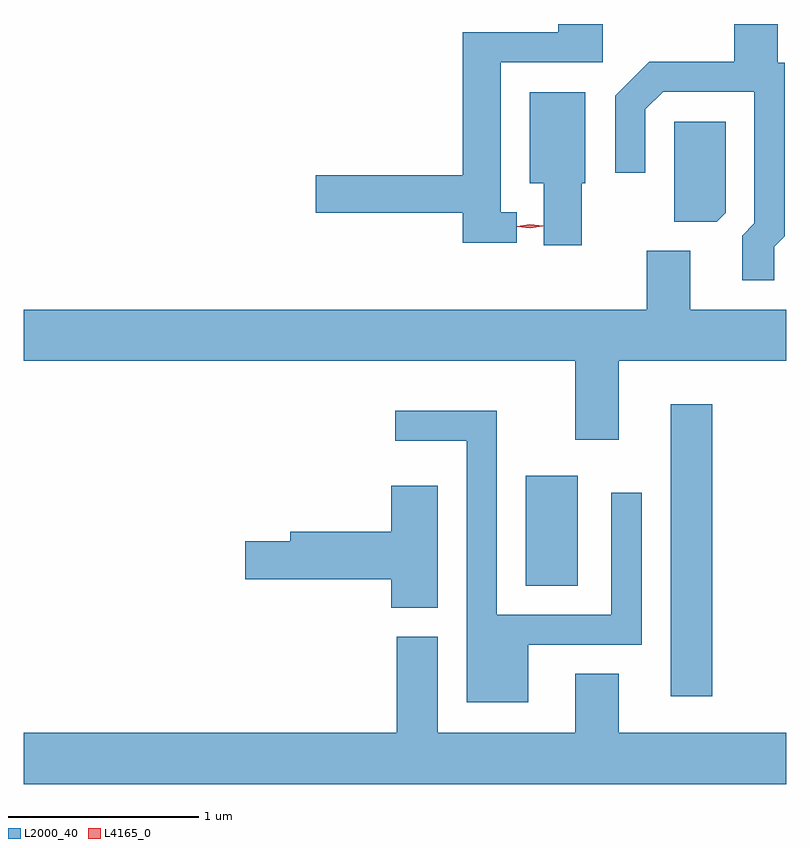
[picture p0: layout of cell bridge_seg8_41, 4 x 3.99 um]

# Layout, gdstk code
import gdstk
lib = gdstk.Library(unit=1e-6, precision=1e-09)
def R(c, l, rs):  # rectangles x0, y0, x1, y1
    for r in rs: c.add(gdstk.rectangle(r[:2], r[2:], *l))
def P(c, l, *ps):  # polygons
    for p in ps: c.add(gdstk.Polygon(p, *l))
L2000_40 = (2000, 40)
L4165_0 = (4165, 0)

bridge_seg8_41 = lib.new_cell('bridge_seg8_41')
R(bridge_seg8_41, L2000_40, [(1608.326,1901.256,1608.544,1902.789), (1607.566,1901.836,1607.839,1902.414)])
P(bridge_seg8_41, L2000_40, [(1607.518,1903.794),(1607.434,1903.794),(1607.434,1904.581),(1607.969,1904.581),(1607.969,1904.782),(1607.736,1904.782),(1607.736,1904.739),(1607.236,1904.739),(1607.236,1903.989),(1606.466,1903.989),(1606.466,1903.791),(1607.236,1903.791),(1607.236,1903.636),(1607.518,1903.636)],
  [(1608.869,1903.614),(1608.924,1903.669),(1608.924,1904.579),(1608.889,1904.579),(1608.889,1904.782),(1608.661,1904.782),(1608.661,1904.584),(1608.214,1904.584),(1608.036,1904.407),(1608.036,1904.003),(1608.194,1904.003),(1608.194,1904.334),(1608.287,1904.426),(1608.766,1904.426),(1608.766,1903.737),(1608.701,1903.672),(1608.701,1903.438),(1608.869,1903.438)],
  [(1607.859,1903.946),(1607.879,1903.946),(1607.879,1904.424),(1607.586,1904.424),(1607.586,1903.946),(1607.661,1903.946),(1607.661,1903.621),(1607.859,1903.621)],
  [(1608.614,1903.792),(1608.614,1904.269),(1608.346,1904.269),(1608.346,1903.746),(1608.569,1903.746)],
  [(1608.054,1903.016),(1608.933,1903.016),(1608.933,1903.284),(1608.429,1903.284),(1608.429,1903.594),(1608.201,1903.594),(1608.201,1903.284),(1604.933,1903.284),(1604.933,1903.016),(1607.826,1903.016),(1607.826,1902.601),(1608.054,1902.601)],
  [(1607.579,1901.526),(1608.174,1901.526),(1608.174,1902.323),(1608.016,1902.323),(1608.016,1901.684),(1607.414,1901.684),(1607.414,1902.754),(1606.883,1902.754),(1606.883,1902.596),(1607.256,1902.596),(1607.256,1901.226),(1607.579,1901.226)],
  [(1607.104,1902.359),(1606.861,1902.359),(1606.861,1902.119),(1606.331,1902.119),(1606.331,1902.069),(1606.096,1902.069),(1606.096,1901.871),(1606.861,1901.871),(1606.861,1901.721),(1607.104,1901.721)],
  [(1608.933,1901.064),(1608.054,1901.064),(1608.054,1901.374),(1607.826,1901.374),(1607.826,1901.064),(1607.104,1901.064),(1607.104,1901.569),(1606.891,1901.569),(1606.891,1901.064),(1604.933,1901.064),(1604.933,1900.796),(1608.933,1900.796)])
P(bridge_seg8_41, L4165_0, [(1607.589,1903.711),(1607.522,1903.719),(1607.522,1903.72),(1607.522,1903.72),(1607.588,1903.731),(1607.654,1903.722),(1607.655,1903.722),(1607.654,1903.722)],
  [(1607.588,1903.713),(1607.519,1903.722),(1607.519,1903.722),(1607.519,1903.722),(1607.588,1903.733),(1607.657,1903.725),(1607.658,1903.725),(1607.657,1903.724)])

lib.write_gds('bridge_seg8_41.gds')
